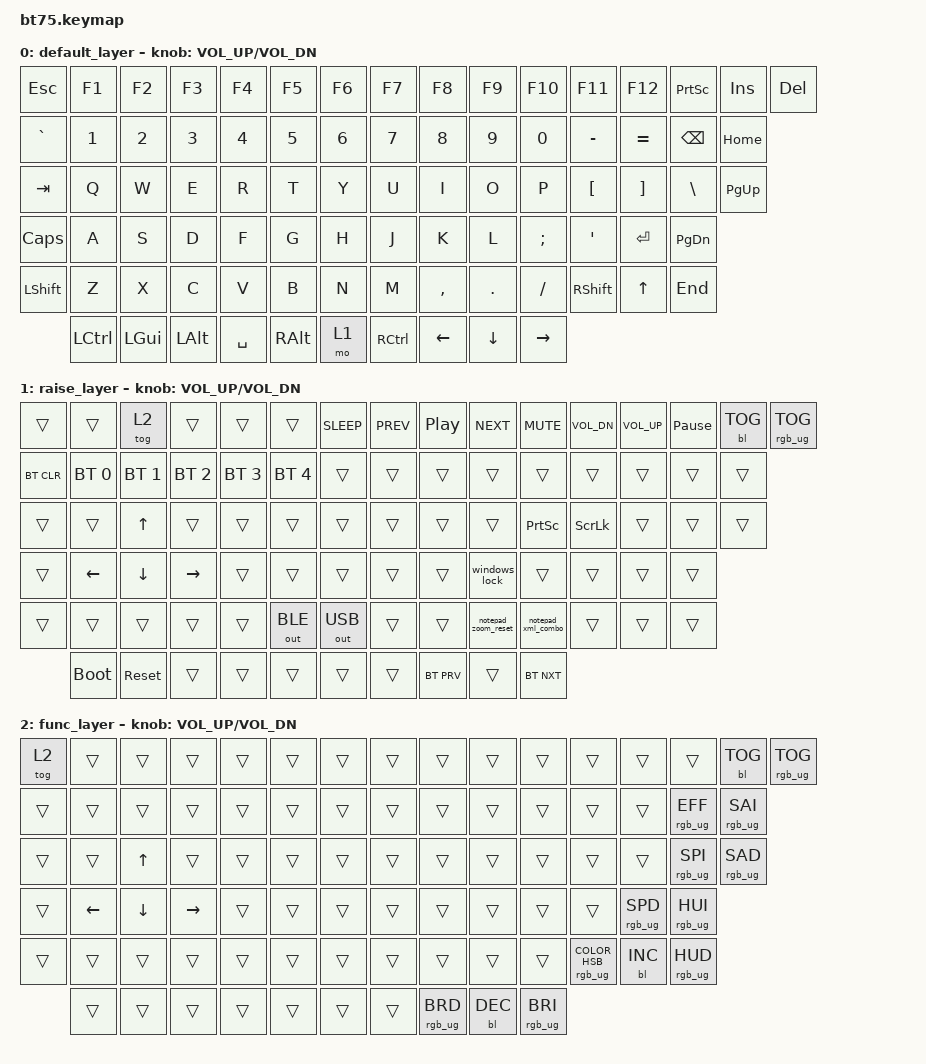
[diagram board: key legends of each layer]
#include <behaviors.dtsi>
#include <dt-bindings/zmk/backlight.h>
#include <dt-bindings/zmk/bt.h>
#include <dt-bindings/zmk/keys.h>
#include <dt-bindings/zmk/outputs.h>
#include <dt-bindings/zmk/rgb.h>

/ {
    macros {
        windows_lock: windows_lock {
            label = "Windows_lock";
            compatible = "zmk,behavior-macro";
            #binding-cells = <0>;
            bindings =
                <&macro_press>,
                <&kp LGUI>,
                <&macro_tap>,
                <&kp L>,
                <&macro_release>,
                <&kp LGUI>;
        };

        notepad_xml_language: notepad_xml_language {
            label = "Notepad_XML_language";
            compatible = "zmk,behavior-macro";
            #binding-cells = <0>;
            bindings =
                <&macro_press>,
                <&kp LALT>,
                <&macro_tap>,
                <&kp L>,
                <&macro_release>,
                <&kp LALT>,
                <&macro_tap>,
                <&kp X>;
        };

        ZMK_MACRO(

        notepad_xml_format,
        bindings =
            <&macro_press &kp LCTRL &kp LALT &kp LSHIFT>,
            <&macro_tap &kp B>,
            <&macro_release &kp LCTRL &kp LALT &kp LSHIFT>;

        )
		
		ZMK_MACRO(

        notepad_xml_combo,
        wait-ms = <30>;
        tap-ms = <40>;
        bindings =
            <&macro_tap &notepad_xml_language>,
            <&macro_tap &notepad_xml_format>;

        )

        notepad_zoom_reset: notepad_zoom_reset {
            label = "Notepad_zoom_reset";
            compatible = "zmk,behavior-macro";
            #binding-cells = <0>;
            bindings =
                <&macro_press>,
                <&kp LCTRL>,
                <&macro_tap>,
                <&kp BACKSLASH>,
                <&macro_release>,
                <&kp LCTRL>;
        };
    };

    keymap {
        compatible = "zmk,keymap";

        default_layer {
            // ------------------------------------------------------------------------------------------------------------
            // | ESC | F1  | F2  | F3  | F4  | F5  | F6  | F7  | F9  | F9  | F10 | F11 | F12 | PSCRN | INS | DEL	|
            // |  `  |  1  |  2  |  3  |  4  |  5  |  6  |  7  |  8  |  9  |  0  |  -  |  =  |   BKSP   | HOME	|
            // | TAB  |  Q  |  W  |  E  |  R  |  T  |  Y  |  U  |  I  |  O  |  P  |  [  |  ]  |    \    | PG UP |
            // | CAPS  |  A  |  S  |  D  |  F  |  G  |  H  |  J  |  K  |  L  |  ;  |  '  |     ENTER     | PG DN |
            // |  SHIFT    |  Z  |  X  |  C  |  V  |  B  |  N  |  M  |  ,  |  .  | /   |    SHIFT |  UP  |  END  |
            // |  CTL  |  WIN  |  ALT  |            SPACE               | ALT | 1  | CTRL |  LEFT | DOWN | RIGHT |
            // ------------------------------------------------------------------------------------------------------------

            bindings = <
&kp ESC    &kp F1     &kp F2    &kp F3    &kp F4     &kp F5    &kp F6  &kp F7     &kp F8     &kp F9    &kp F10    &kp F11    &kp F12    &kp PSCRN      &kp INS    &kp DEL
&kp GRAVE  &kp N1     &kp N2    &kp N3    &kp N4     &kp N5    &kp N6  &kp N7     &kp N8     &kp N9    &kp N0     &kp MINUS  &kp EQUAL  &kp BACKSPACE  &kp HOME
&kp TAB    &kp Q      &kp W     &kp E     &kp R      &kp T     &kp Y   &kp U      &kp I      &kp O     &kp P      &kp LBKT   &kp RBKT   &kp BSLH       &kp PG_UP
&kp CLCK   &kp A      &kp S     &kp D     &kp F      &kp G     &kp H   &kp J      &kp K      &kp L     &kp SEMI   &kp SQT    &kp RET    &kp PG_DN
&kp LSHFT  &kp Z      &kp X     &kp C     &kp V      &kp B     &kp N   &kp M      &kp COMMA  &kp DOT   &kp FSLH   &kp RSHFT  &kp UP     &kp END
           &kp LCTRL  &kp LGUI  &kp LALT  &kp SPACE  &kp RALT  &mo 1   &kp RCTRL  &kp LEFT   &kp DOWN  &kp RIGHT
            >;

            sensor-bindings = <&inc_dec_kp C_VOL_UP C_VOL_DN>;
        };

        raise_layer {
            bindings = <
&trans      &trans        &tog 2        &trans        &trans        &trans        &kp C_SLEEP   &kp C_PREV  &kp C_PP    &kp C_NEXT           &kp C_MUTE          &kp C_VOL_DN  &kp C_VOL_UP  &kp PAUSE_BREAK  &bl BL_TOG  &rgb_ug RGB_TOG
&bt BT_CLR  &bt BT_SEL 0  &bt BT_SEL 1  &bt BT_SEL 2  &bt BT_SEL 3  &bt BT_SEL 4  &trans        &trans      &trans      &trans               &trans              &trans        &trans        &trans           &trans
&trans      &trans        &kp UP        &trans        &trans        &trans        &trans        &trans      &trans      &trans               &kp PSCRN           &kp SLCK      &trans        &trans           &trans
&trans      &kp LEFT      &kp DOWN      &kp RIGHT     &trans        &trans        &trans        &trans      &trans      &windows_lock        &trans              &trans        &trans        &trans
&trans      &trans        &trans        &trans        &trans        &out OUT_BLE  &out OUT_USB  &trans      &trans      &notepad_zoom_reset  &notepad_xml_combo  &trans        &trans        &trans
            &bootloader   &sys_reset    &trans        &trans        &trans        &trans        &trans      &bt BT_PRV  &trans               &bt BT_NXT
            >;

            sensor-bindings = <&inc_dec_kp C_VOL_UP C_VOL_DN>;
        };

        func_layer {
            bindings = <
&tog 2  &trans          &trans          &trans           &trans  &trans  &trans  &trans  &trans           &trans      &trans           &trans                            &trans           &trans           &bl BL_TOG       &rgb_ug RGB_TOG
&trans  &trans          &trans          &trans           &trans  &trans  &trans  &trans  &trans           &trans      &trans           &trans                            &trans           &rgb_ug RGB_EFF  &rgb_ug RGB_SAI
&trans  &trans          &kp UP_ARROW    &trans           &trans  &trans  &trans  &trans  &trans           &trans      &trans           &trans                            &trans           &rgb_ug RGB_SPI  &rgb_ug RGB_SAD
&trans  &kp LEFT_ARROW  &kp DOWN_ARROW  &kp RIGHT_ARROW  &trans  &trans  &trans  &trans  &trans           &trans      &trans           &trans                            &rgb_ug RGB_SPD  &rgb_ug RGB_HUI
&trans  &trans          &trans          &trans           &trans  &trans  &trans  &trans  &trans           &trans      &trans           &rgb_ug RGB_COLOR_HSB(37,100,37)  &bl BL_INC       &rgb_ug RGB_HUD
        &trans          &trans          &trans           &trans  &trans  &trans  &trans  &rgb_ug RGB_BRD  &bl BL_DEC  &rgb_ug RGB_BRI
            >;

            sensor-bindings = <&inc_dec_kp C_VOL_UP C_VOL_DN>;
        };
    };
};
